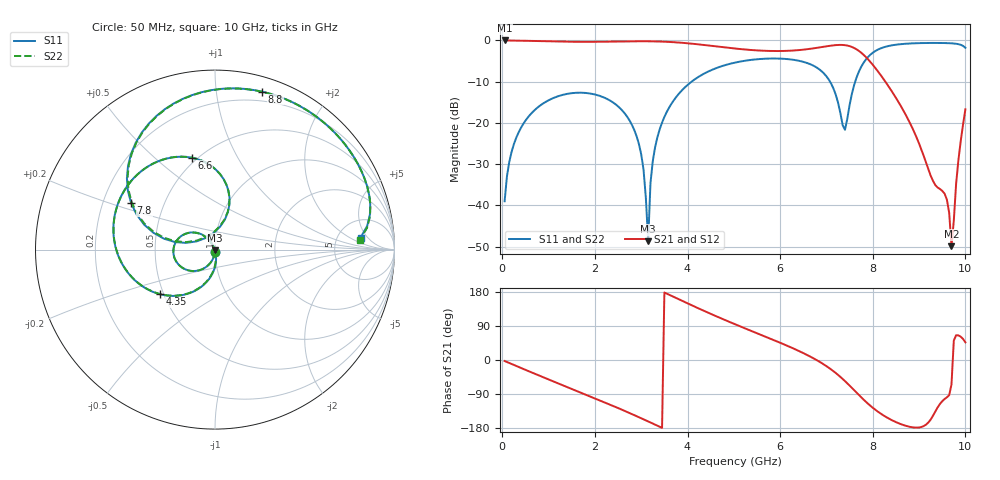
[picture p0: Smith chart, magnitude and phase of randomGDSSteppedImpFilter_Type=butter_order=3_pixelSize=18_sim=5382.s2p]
! freq	dB(S11)	phase(S11)	dB(S12)	phase(S12)
!  dB(S21)	phase(S21)	dB(S22)	phase(S22)
!S-par simulation data
#  GHz  S  DB  R 50
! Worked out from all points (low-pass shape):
!   200 points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, 50 MHz to 10 GHz, reference 50 ohm
!   highest |S21| = 0.00 dB at 50 MHz (marker M1); lowest = -49.9 dB at 9.7 GHz (marker M2)
!   |S21| within 3 dB of the highest: start of sweep to 7.753 GHz
!   lowest |S11| = -48.7 dB at 3.15 GHz (marker M3), VSWR 1.01, Z = 49.9 - j0.36 ohm
!   |S11| at or under -10 dB: start of sweep to 4.088 GHz; 7.076 GHz to 7.621 GHz (544.3 MHz wide, 7.41 % of centre)
!   |S22| runs from -46.4 to -0.6 dB; largest |S21 - S12| = 0
!   S11 on the Smith chart (normalised r, x): 50 MHz: 1.00, -0.02; 4.35 GHz: 0.48, -0.28; 6.6 GHz: 0.47, +0.67; 7.8 GHz: 0.32, +0.23; 8.8 GHz: 0.12, +1.34; 10 GHz: 8.40, +3.35
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0.05  -39.01 -92.4  -0.00 -2.6  -0.00 -2.6  -39.00 -92.4
0.2  -27.05 -100.5  -0.02 -10.5  -0.02 -10.5  -27.06 -100.6
0.5  -19.46 -116.6  -0.08 -26.0  -0.08 -26.0  -19.46 -116.5
1.75  -12.70 -179.4  -0.34 -88.7  -0.34 -88.7  -12.70 -179.2
2.85  -21.73 124.6  -0.20 -145.5  -0.20 -145.5  -21.72 125.7
3.05  -31.34 115.7  -0.20 -156.5  -0.20 -156.5  -31.30 119.5
3.15  -48.68 -102.0  -0.20 -162.1  -0.20 -162.1  -46.44 -121.9
3.2  -34.58 -80.3  -0.21 -164.9  -0.21 -164.9  -34.46 -86.4
3.4  -21.51 -88.0  -0.26 -176.2  -0.26 -176.2  -21.51 -89.5
4.35  -8.09 -140.8  -1.09 130.0  -1.09 130.0  -8.09 -141.1
5.05  -5.31 -177.1  -1.99 93.1  -1.99 93.1  -5.32 -177.4
6.6  -5.55 104.2  -2.11 12.2  -2.11 12.2  -5.55 104.1
6.7  -6.02 98.3  -1.95 5.8  -1.95 5.8  -6.02 98.2
7.1  -10.45 74.3  -1.26 -24.9  -1.26 -24.9  -10.44 74.5
7.4  -21.67 127.6  -1.15 -55.7  -1.15 -55.7  -21.31 126.9
7.8  -5.44 151.0  -3.47 -104.4  -3.47 -104.4  -5.44 150.3
8.35  -1.32 102.1  -11.30 -154.8  -11.30 -154.8  -1.32 101.6
8.8  -0.74 73.4  -19.97 -176.4  -19.97 -176.4  -0.74 72.9
9.6  -0.65 31.2  -38.59 -98.6  -38.59 -98.6  -0.65 30.7
9.7  -0.70 25.7  -49.90 -64.5  -49.90 -64.5  -0.70 25.2
9.85  -0.90 16.3  -28.93 64.9  -28.93 64.9  -0.92 15.7
10  -1.79 4.7  -16.70 46.7  -16.70 46.7  -1.83 4.0
